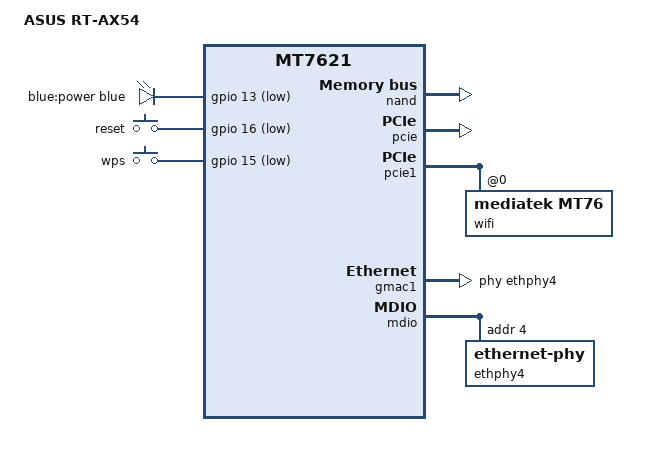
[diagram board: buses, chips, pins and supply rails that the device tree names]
// SPDX-License-Identifier: GPL-2.0-or-later OR MIT

#include "mt7621.dtsi"

#include <dt-bindings/gpio/gpio.h>
#include <dt-bindings/input/input.h>
#include <dt-bindings/leds/common.h>

/ {
	compatible = "asus,rt-ax54", "mediatek,mt7621-soc";
	model = "ASUS RT-AX54";

	aliases {
		led-boot = &led_power;
		led-failsafe = &led_power;
		led-running = &led_power;
		led-upgrade = &led_power;
		label-mac-device = &gmac0;
	};

	chosen {
		bootargs = "console=ttyS0,115200";
		bootargs-override = "console=ttyS0,115200";
	};

	leds {
		compatible = "gpio-leds";

		led_power: power {
			label = "blue:power";
			color = <LED_COLOR_ID_BLUE>;
			function = LED_FUNCTION_POWER;
			gpios = <&gpio 13 GPIO_ACTIVE_LOW>;
		};

	};

	keys {
		compatible = "gpio-keys";

		key-restart {
			label = "reset";
			gpios = <&gpio 16 GPIO_ACTIVE_LOW>;
			linux,code = <KEY_RESTART>;
		};

		key-wps {
			label = "wps";
			gpios = <&gpio 15 GPIO_ACTIVE_LOW>;
			linux,code = <KEY_WPS_BUTTON>;
		};
	};
};

&nand {
	status = "okay";

	mediatek,nmbm;
	mediatek,bmt-max-ratio = <1>;
	mediatek,bmt-max-reserved-blocks = <64>;
	mediatek,bmt-remap-range = <0x000000 0x7e0000>;

	partitions {
		compatible = "fixed-partitions";
		#address-cells = <1>;
		#size-cells = <1>;

		partition@0 {
			label = "u-boot";
			reg = <0x0 0x80000>;
			read-only;
		};

		/*
		 * u-boot gets split here while keeping u-boot read-only,
		 * which allows safe usage of fw_setenv
		 */
		partition@80000 {
			label = "u-boot-env";
			reg = <0x80000 0x60000>;
		};

		partition@e0000 {
			label = "nvram";
			reg = <0xe0000 0x100000>;
			read-only;
		};

		factory: partition@1e0000 {
			label = "factory";
			reg = <0x1e0000 0x100000>;
			read-only;

			compatible = "nvmem-cells";
			#address-cells = <1>;
			#size-cells = <1>;

			macaddr_factory_4: macaddr@4 {
				reg = <0x4 0x6>;
			};
		};

		factory2: partition@2e0000 {
			label = "factory2";
			reg = <0x2e0000 0x100000>;
			read-only;
		};

		partition@3e0000 {
			label = "kernel";
			reg = <0x3e0000 0x400000>;
		};

		partition@7e0000 {
			label = "ubi";
			reg = <0x7e0000 0x7020000>;
		};

		/* Last 8M are reserved for NMBM management (bad blocks) */
	};
};

&pcie {
	status = "okay";
};

&pcie1 {
	wifi@0,0 {
		compatible = "mediatek,mt76";
		reg = <0x0000 0 0 0 0>;
		mediatek,mtd-eeprom = <&factory 0x0000>;
		mediatek,disable-radar-background;
	};
};

&gmac0 {
	nvmem-cells = <&macaddr_factory_4>;
	nvmem-cell-names = "mac-address";
};

&gmac1 {
	status = "okay";
	label = "wan";
	phy-handle = <&ethphy4>;

	nvmem-cells = <&macaddr_factory_4>;
	nvmem-cell-names = "mac-address";
};

&mdio {
	ethphy4: ethernet-phy@4 {
		reg = <4>;
	};
};

&switch0 {
	ports {
		port@0 {
			status = "okay";
			label = "lan4";
		};

		port@1 {
			status = "okay";
			label = "lan3";
		};

		port@2 {
			status = "okay";
			label = "lan2";
		};

		port@3 {
			status = "okay";
			label = "lan1";
		};
	};
};

&state_default {
	gpio {
		groups = "i2c", "uart2", "uart3", "jtag", "wdt";
		function = "gpio";
	};
};

